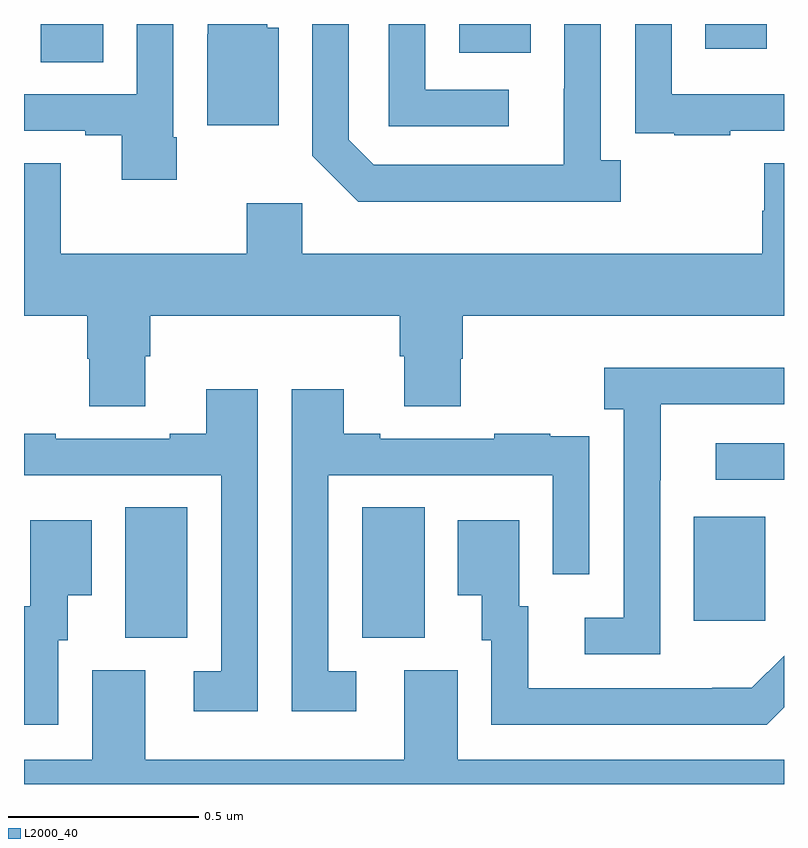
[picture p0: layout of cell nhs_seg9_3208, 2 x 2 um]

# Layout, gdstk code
import gdstk
lib = gdstk.Library(unit=1e-6, precision=1e-09)
def R(c, l, rs):  # rectangles x0, y0, x1, y1
    for r in rs: c.add(gdstk.rectangle(r[:2], r[2:], *l))
def P(c, l, *ps):  # polygons
    for p in ps: c.add(gdstk.Polygon(p, *l))
L2000_40 = (2000, 40)

nhs_seg9_3208 = lib.new_cell('nhs_seg9_3208')
R(nhs_seg9_3208, L2000_40, [(150.266,1216.885,150.43,1217.228), (150.89,1216.885,151.054,1217.228), (151.763,1216.929,151.951,1217.203), (151.821,1217.301,152,1217.397), (150.044,1218.4,150.208,1218.5), (151.145,1218.425,151.333,1218.5), (151.793,1218.435,151.954,1218.5)])
P(nhs_seg9_3208, L2000_40, [(151.859,1218.219),(152,1218.219),(152,1218.315),(151.704,1218.315),(151.704,1218.5),(151.608,1218.5),(151.608,1218.322),(151.609,1218.322),(151.609,1218.213),(151.711,1218.213),(151.711,1218.207),(151.859,1218.207)],
  [(150.67,1218.49),(150.64,1218.49),(150.64,1218.5),(150.483,1218.5),(150.483,1218.473),(150.482,1218.473),(150.482,1218.233),(150.67,1218.233)],
  [(150.402,1218.202),(150.393,1218.202),(150.393,1218.5),(150.297,1218.5),(150.297,1218.315),(150,1218.315),(150,1218.219),(150.161,1218.219),(150.161,1218.207),(150.257,1218.207),(150.257,1218.09),(150.402,1218.09)],
  [(151.276,1218.327),(151.056,1218.327),(151.056,1218.5),(150.96,1218.5),(150.96,1218.231),(151.276,1218.231)],
  [(151.57,1218.142),(151.518,1218.142),(151.518,1218.5),(151.422,1218.5),(151.422,1218.329),(151.421,1218.329),(151.421,1218.129),(150.921,1218.129),(150.855,1218.195),(150.855,1218.5),(150.759,1218.5),(150.759,1218.153),(150.88,1218.032),(151.57,1218.032)],
  [(150.319,1217.626),(150.332,1217.626),(150.332,1217.732),(150.989,1217.732),(150.989,1217.626),(151.001,1217.626),(151.001,1217.494),(151.149,1217.494),(151.149,1217.619),(151.154,1217.619),(151.154,1217.732),(152,1217.732),(152,1218.134),(151.948,1218.134),(151.948,1218.009),(151.943,1218.009),(151.943,1217.896),(150.732,1217.896),(150.732,1218.028),(150.586,1218.028),(150.586,1217.896),(150.097,1217.896),(150.097,1218.134),(150,1218.134),(150,1217.732),(150.167,1217.732),(150.167,1217.619),(150.172,1217.619),(150.172,1217.494),(150.319,1217.494)],
  [(151.674,1217.299),(151.675,1217.299),(151.675,1217.499),(152,1217.499),(152,1217.596),(151.527,1217.596),(151.527,1217.486),(151.578,1217.486),(151.578,1216.938),(151.476,1216.938),(151.476,1216.842),(151.674,1216.842)],
  [(150.615,1217.539),(150.479,1217.539),(150.479,1217.422),(150.383,1217.422),(150.383,1217.409),(150.083,1217.409),(150.083,1217.422),(150,1217.422),(150,1217.313),(150.519,1217.313),(150.519,1216.797),(150.447,1216.797),(150.447,1216.692),(150.615,1216.692)],
  [(150.874,1216.797),(150.801,1216.797),(150.801,1217.313),(151.392,1217.313),(151.392,1217.052),(151.488,1217.052),(151.488,1217.306),(151.487,1217.306),(151.487,1217.415),(151.385,1217.415),(151.385,1217.422),(151.237,1217.422),(151.237,1217.409),(150.937,1217.409),(150.937,1217.422),(150.841,1217.422),(150.841,1217.539),(150.705,1217.539),(150.705,1216.692),(150.874,1216.692)],
  [(150.09,1216.878),(150.115,1216.878),(150.115,1216.997),(150.178,1216.997),(150.178,1217.194),(150.017,1217.194),(150.017,1216.968),(150,1216.968),(150,1216.656),(150.09,1216.656)],
  [(152,1216.702),(152,1216.838),(151.915,1216.753),(151.811,1216.753),(151.811,1216.752),(151.327,1216.752),(151.327,1216.968),(151.303,1216.968),(151.303,1217.194),(151.142,1217.194),(151.142,1216.997),(151.205,1216.997),(151.205,1216.878),(151.23,1216.878),(151.23,1216.656),(151.954,1216.656)],
  [(150.179,1216.8),(150.179,1216.564),(150,1216.564),(150,1216.5),(152,1216.5),(152,1216.564),(151.141,1216.564),(151.141,1216.8),(151.001,1216.8),(151.001,1216.564),(150.319,1216.564),(150.319,1216.8)])

lib.write_gds('nhs_seg9_3208.gds')
